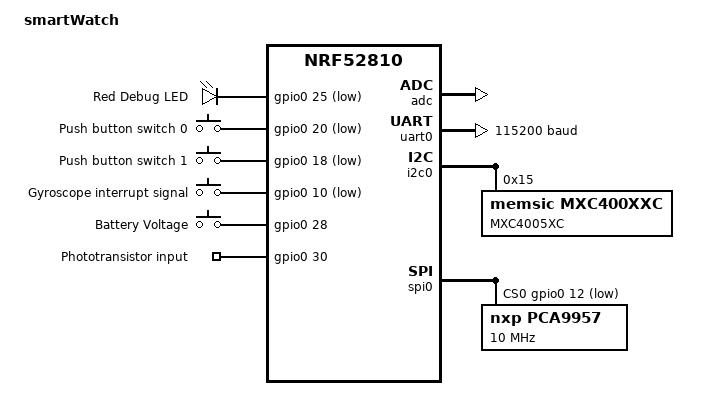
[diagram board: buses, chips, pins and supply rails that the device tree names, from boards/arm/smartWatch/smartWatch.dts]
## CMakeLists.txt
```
# SPDX-License-Identifier: GPLv3

cmake_minimum_required(VERSION 3.20.0)
# add smartWatch board directory
list(APPEND BOARD_ROOT ${CMAKE_CURRENT_SOURCE_DIR})
find_package(Zephyr REQUIRED HINTS $ENV{ZEPHYR_BASE})
project(smartWatchApp)

FILE(GLOB app_sources src/*.c)
target_sources(app PRIVATE ${app_sources})
```

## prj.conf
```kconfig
CONFIG_GPIO=y
CONFIG_ADC=y
CONFIG_ADC_ASYNC=y
CONFIG_NRFX_SAADC=y
CONFIG_ADC_NRFX_SAADC=y
CONFIG_I2C=y
CONFIG_SPI=y
CONFIG_COUNTER=y
CONFIG_COUNTER_RTC0=y
CONFIG_CLOCK_CONTROL_NRF_K32SRC_XTAL=y
CONFIG_CLOCK_CONTROL_NRF_K32SRC_50PPM=y
CONFIG_LOG=n #y
CONFIG_PRINTK=n #y
CONFIG_TIMESLICING=n #y

CONFIG_SERIAL=n

# Power management
CONFIG_PM=n

# Interrupts

# Memory protection
CONFIG_THREAD_STACK_INFO=n
CONFIG_THREAD_CUSTOM_DATA=n
CONFIG_FPU=n

# Boot
CONFIG_BOOT_BANNER=n
CONFIG_BOOT_DELAY=0

# Console
CONFIG_CONSOLE=n
CONFIG_UART_CONSOLE=n
CONFIG_STDOUT_CONSOLE=n
CONFIG_EARLY_CONSOLE=n

# Build
CONFIG_SIZE_OPTIMIZATIONS=y

# Multi-threading
CONFIG_NUM_PREEMPT_PRIORITIES=0
```

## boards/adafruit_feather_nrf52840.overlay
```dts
/* 
 * Copyright (c) 2023 Simon Brenninger
 *
 * SPDX-License-Identifier: GPLv3
 */

my_spi: &spi1 {
    compatible = "nordic,nrf-spi";
    status = "okay";
	pinctrl-0 = <&spi1_default>;
	pinctrl-1 = <&spi1_sleep>;
	cs-gpios = <&gpio0 3 GPIO_ACTIVE_LOW>;

	my_spi_dev: spi-device@0 {
		reg = <0>;
	};
};
```

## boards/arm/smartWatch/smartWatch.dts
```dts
/*
 * Copyright (c) 2023 Simon Brenninger
 *
 * SPDX-License-Identifier: GPLv3
 */

/dts-v1/;
#include <nordic/nrf52810_qfaa.dtsi>
#include "smartWatch-pinctrl.dtsi"

/ {
	model = "smartWatch";
	compatible = "nordic,smartWatch";

	chosen {
		zephyr,console = &uart0;
		zephyr,shell-uart = &uart0;
		zephyr,uart-mcumgr = &uart0;
		zephyr,sram = &sram0;
		zephyr,flash = &flash0;
		zephyr,code-partition = &slot0_partition;
	};
 
	leds {
		compatible = "gpio-leds";
		led0: led0 {
			gpios = <&gpio0 25 GPIO_ACTIVE_LOW>;
			label = "Red Debug LED";
		};
	};

	buttons {
		compatible = "gpio-keys";
		btn0: btn0 {
			label = "Push button switch 0";
			gpios = <&gpio0 20 (GPIO_PULL_UP | GPIO_ACTIVE_LOW)>;
		};
		btn1: btn1 {
			label = "Push button switch 1";
			gpios = <&gpio0 18 (GPIO_ACTIVE_LOW)>;
		};
	};

	custom_pins {
		compatible = "gpio-keys";
		gyroint: gyroint {
			label = "Gyroscope interrupt signal";
			gpios = <&gpio0 10 (GPIO_ACTIVE_LOW)>;
		};
		batsens: batsens {
			label = "Battery Voltage";
			gpios = <&gpio0 28 (GPIO_ACTIVE_HIGH)>;
		};
		photo: photosens {
			label = "Phototransistor input";
			gpios = <&gpio0 30 (GPIO_ACTIVE_HIGH)>;
		};
	};

	aliases {
		sw0 = &btn0;
	};
};

&adc {
	status = "okay";
};

&gpiote {
	status = "okay";
};

&gpio0 {
	status = "okay";
};

&uart0 {
	status = "okay";
	compatible = "nordic,nrf-uart";
	current-speed = <115200>;
	pinctrl-0 = <&uart0_default>;
	pinctrl-1 = <&uart0_sleep>;
	pinctrl-names = "default", "sleep";
};
 
&i2c0 {
	compatible = "nordic,nrf-twi";
	status = "okay";
	pinctrl-0 = <&i2c0_default>;
	pinctrl-1 = <&i2c0_sleep>;
	pinctrl-names = "default", "sleep";

	mxc400: mxc400@15 {
		compatible = "memsic,mxc400xxc";
		label = "MXC4005XC";
		reg = <0x15>;
	};
};

&spi0 {
	compatible = "nordic,nrf-spi";
	status = "okay";
	pinctrl-0 = <&spi0_default>;
	pinctrl-1 = <&spi0_sleep>;
	pinctrl-names = "default", "sleep";
	cs-gpios = <&gpio0 12 GPIO_ACTIVE_LOW>;
	
	pca9957: pca9957@0 {
		compatible = "nxp,pca9957";
		reg = <0>;
		spi-max-frequency = <10000000>;
	};
	
};

&flash0 {
	/*
	 * For more information, see:
	 * http://docs.zephyrproject.org/latest/guides/dts/index.html#flash-partitions
	 */
	partitions {
		compatible = "fixed-partitions";
		#address-cells = <1>;
		#size-cells = <1>;

		boot_partition: partition@0 {
			label = "mcuboot";
			reg = <0x00000000 0xc000>;
		};
		slot0_partition: partition@c000 {
			label = "image-0";
			reg = <0x0000c000 0xe000>;
		};
		slot1_partition: partition@1a000 {
			label = "image-1";
			reg = <0x0001a000 0xe000>;
		};
		scratch_partition: partition@28000 {
			label = "image-scratch";
			reg = <0x00028000 0x4000>;
		};
		storage_partition: partition@2c000 {
			label = "storage";
			reg = <0x0002c000 0x00004000>;
		};
	};
};
```

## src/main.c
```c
/*
 * Copyright (c) 2023 Simon Brenninger
 *
 * SPDX-License-Identifier: GPLv3
 */

#include "lib/lib.h"

LOG_MODULE_REGISTER(SmartWatchDemo, LOG_LEVEL);

K_THREAD_STACK_DEFINE(pca9957_stack, THREAD_STACK_SIZE);
K_THREAD_STACK_DEFINE(mxc400c_stack, THREAD_STACK_SIZE);
K_THREAD_STACK_DEFINE(rtc_stack, THREAD_STACK_SIZE);

k_tid_t pca9957_tid;
k_tid_t mxc400_tid;
k_tid_t adc_tid;
k_tid_t rtc_tid;

struct k_thread pca9957_thread_data;
struct k_thread mxc400_thread_data;
struct k_thread rtc_thread_data;


/**
 * @brief main thread
 */

void main(void)
{
	int ret;
	LOG_DBG("SmartWatch demo project");

	ret = gpio_init();
	ret |= adc_init();

	if(ret) {
		LOG_ERR("Error initializing periphs");
	} else {
		LOG_DBG("peripherals initialized");
		
		pca9957_tid = k_thread_create(&pca9957_thread_data, pca9957_stack,
									  K_THREAD_STACK_SIZEOF(pca9957_stack),
									  pca9957_thread,
									  NULL, NULL, NULL,
									  6, 0, K_NO_WAIT);
		
		mxc400_tid = k_thread_create(&mxc400_thread_data, mxc400c_stack,
									 K_THREAD_STACK_SIZEOF(mxc400c_stack),
									 mxc400_thread,
									 NULL, NULL, NULL,
									 6, 0, K_NO_WAIT);

		rtc_tid = k_thread_create(&rtc_thread_data, rtc_stack,
								  K_THREAD_STACK_SIZEOF(rtc_stack),
								  rtc_thread,
								  NULL, NULL, NULL,
								  5, 0, K_NO_WAIT);
	}
	return;
}

/* 
 * application structure:
 * reset:
 * init peripherals
 * create threads:
 * - pca9957 thread:
 * 		init led driver
 * 		suspend and wait for notifications
 * 		when notified:
 * 			get brightness level
 * 			perform notified task
 * 			suspend
 * - mxc400 thread:
 * 		init interrupt callback
 * 		return
 * 		- callback:
 * 			reset pending interrupt flags
 * 			notify led driver to perform task
 * 			return
 * - rtc thread:
 * 		init rtc
 * 		init time
 * 		add timer callback (every sec)
 * 		return
 * 		callback:
 * 			update time
 * 			return
 *
 */
```

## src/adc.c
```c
/*
 * Copyright (c) 2023 Simon Brenninger
 *
 * SPDX-License-Identifier: GPLv3
 */

#include "header.h"
#include "adc.h"

LOG_MODULE_DECLARE(SmartWatchDemo, LOG_LEVEL);

// adc definitions

const struct device *adc_dev = DEVICE_DT_GET(ADC_NODE);

int16_t adc_buf; // why not uint8_t ?

const struct adc_channel_cfg adc_cfg = {
	.gain = ADC_GAIN,
	.reference = ADC_REFERENCE,
	.acquisition_time = ADC_ACQ_TIME_DEFAULT,
	.channel_id = ADC_CHANNEL,
#ifdef CONFIG_ADC_NRFX_SAADC
	.input_positive = ADC_PORT
#endif
};

struct adc_sequence sequence = {
	.channels = BIT(ADC_CHANNEL),
	.buffer = &adc_buf,
	.buffer_size = sizeof(adc_buf),
	.resolution = ADC_RESOLUTION
};

int adc_init(void) {
	int ret = 0;
	if(!device_is_ready(adc_dev)) {
		return -1;
	}
	
	ret = adc_channel_setup(adc_dev, &adc_cfg);
	return ret;
}

/**
 * @brief get brightness of the photodiode.
 * 
 * @param brightness measured brightness off photodiode
 * 			0x00: dark, 0xFF bright
 * 
 * @retval 0 If successful.
 * @retval -errno Negative errno code on failure.
 */
int photo_get_brightness(uint8_t *brightness) {
	int ret = adc_read(adc_dev, &sequence);
	*brightness = (adc_buf < 1) ? 1 : adc_buf;
	return ret;
}

void adc_test(void)
{
	int ret = 0;

	uint8_t pwm;
	int delay;
	while (!ret)
	{
		ret = photo_get_brightness(&pwm);
		if(ret) {
			LOG_ERR("failed reading ADC!\n");
			gpio_pin_set_dt(&led, 1);
			return;
		}
		delay = pwm*4; // 0...1000
		printk("%d\t%d\n", pwm, delay);

		gpio_pin_set_dt(&led, 1);
		k_usleep(delay);
		gpio_pin_set_dt(&led, 0);
		k_usleep(1000 - delay);
	}
}
```

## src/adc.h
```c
/*
 * Copyright (c) 2023 Simon Brenninger
 *
 * SPDX-License-Identifier: GPLv3
 */

#ifndef ADC_INCLUDED
#define ADC_INCLUDED

#include "header.h"
#include <zephyr/drivers/adc.h>

#define ADC_NODE		DT_NODELABEL(adc)

#define ADC_RESOLUTION	8
#define ADC_CHANNEL		0
#define ADC_PORT		SAADC_CH_PSELP_PSELP_AnalogInput6
#define ADC_REFERENCE	ADC_REF_INTERNAL
#define ADC_GAIN		ADC_GAIN_1_5

extern const struct device *adc_dev;

int adc_init(void);
void adc_test(void);
int photo_get_brightness(uint8_t *brightness);

# endif // ADC_INCLUDED
```

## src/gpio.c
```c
/*
 * Copyright (c) 2023 Simon Brenninger
 *
 * SPDX-License-Identifier: GPLv3
 */

#include "header.h"
#include "gpio.h"

const struct gpio_dt_spec led = GPIO_DT_SPEC_GET(LED0_NODE, gpios);
const struct gpio_dt_spec button0 = GPIO_DT_SPEC_GET(BTN0_NODE, gpios);
const struct gpio_dt_spec button1 = GPIO_DT_SPEC_GET(BTN1_NODE, gpios);

static struct gpio_callback button_cb_data;

void button_pressed(const struct device *dev, struct gpio_callback *cb, uint32_t pins) {
	printk("hi from btn0 callback!\n");
	gpio_pin_toggle_dt(&led);
}

/**
 * @brief initialize the GPIO pins.
 * 
 * @retval 0 If successful.
 * @retval -errno Negative errno code on failure.
 */
uint8_t gpio_init(void)
{
    int ret = 0;
    if (!device_is_ready(led.port) ||
		!device_is_ready(button0.port) ||
		!device_is_ready(button1.port)) {
		return -1;
	}
	ret |= gpio_pin_configure_dt(&led, GPIO_OUTPUT_INACTIVE);
	ret |= gpio_pin_configure_dt(&button0, GPIO_INPUT);
	ret |= gpio_pin_configure_dt(&button1, GPIO_INPUT);

	ret |= gpio_pin_interrupt_configure_dt(&button0, GPIO_INT_EDGE_TO_ACTIVE);
	gpio_init_callback(&button_cb_data, button_pressed, BIT(button0.pin));
	//gpio_add_callback(button0.port, &button_cb_data);

    return ret;
}
```

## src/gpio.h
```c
/*
 * Copyright (c) 2023 Simon Brenninger
 *
 * SPDX-License-Identifier: GPLv3
 */

#ifndef GPIO_INCLUDED
#define GPIO_INCLUDED

#include "header.h"
#include <zephyr/drivers/gpio.h>

#define LED0_NODE		DT_NODELABEL(led0)
#define BTN0_NODE		DT_NODELABEL(btn0)
#define BTN1_NODE		DT_NODELABEL(btn1)
#define GYRO_INT_NODE	DT_NODELABEL(gyroint)

extern const struct gpio_dt_spec led;
extern const struct gpio_dt_spec button0;
extern const struct gpio_dt_spec button1;

uint8_t gpio_init(void);
void thread_photo(void);

#endif // GPIO_INCLUDED
```

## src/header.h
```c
/*
 * Copyright (c) 2023 Simon Brenninger
 *
 * SPDX-License-Identifier: GPLv3
 */

#ifndef HEADER_INCLUDED
#define HEADER_INCLUDED


#include <inttypes.h>
#include <stddef.h>
#include <stdint.h>

#include <zephyr/kernel.h>
#include <zephyr/device.h>
#include <zephyr/sys_clock.h>
#include <zephyr/devicetree.h>
#include <zephyr/sys/printk.h>
#include <zephyr/logging/log.h>
#include <zephyr/sys/util.h>

#include "adc.h"
#include "rtc.h"
#include "gpio.h"
#include "mxc400.h"
#include "pca9957.h"
#include "pca9957_wrapper.h"

#define LOG_LEVEL	            LOG_LEVEL_DBG

#define ERR_DEVICE_NOT_READY    BIT(1)

#define THREAD_STACK_SIZE       1024

extern k_tid_t pca9957_tid;
extern k_tid_t mxc400_tid;
extern k_tid_t adc_tid;
extern k_tid_t rtc_tid;

#endif // HEADER_INCLUDED
```

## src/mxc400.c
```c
/*
 * Copyright (c) 2023 Simon Brenninger
 *
 * SPDX-License-Identifier: GPLv3
 */

#include "header.h"
#include "mxc400.h"

LOG_MODULE_DECLARE(SmartWatchDemo, LOG_LEVEL);

const struct device *i2c_dev = DEVICE_DT_GET(I2C_NODE);
const struct gpio_dt_spec mxc400_int = GPIO_DT_SPEC_GET(GYRO_INT_NODE, gpios);

static struct gpio_callback callback_data;
struct k_fifo pca_task_fifo;
static struct pca_task_el el;

void mxc400_callback(const struct device *dev, struct gpio_callback *cb, uint32_t pins) {
	//gpio_pin_toggle_dt(&led);
	k_fifo_put(&pca_task_fifo, &el);
}

/**
 * @brief mxc400 accelerometer thread
 */
void mxc400_thread(void *, void *, void *)
{
	int ret;
	LOG_DBG("MXC400 thread started");
	ret = mxc400_init();

	if(ret)
	{
		LOG_ERR("Error initializing MXC400");
		return;
	}
	LOG_DBG("MXC400 initialized");

	while(1)
	{
		k_sleep(K_FOREVER);
		mxc400_interrupt_clear(MXC400_INTFLAG_CHORXY);
	}
}

/*
reading device ID:

buf = 0x0E;
	ret = i2c_write(i2c_dev, &buf, 1, I2C_ADDRESS);
	if(ret != 0)
	{
		LOG_ERR("Error writing to I2C device\n");
		gpio_pin_set_dt(&led, 1);
		return;
	}

	ret = i2c_read(i2c_dev, &buf, 1, I2C_ADDRESS);
	if(ret != 0)
	{
		LOG_ERR("Error reading from I2C device\n");
		gpio_pin_set_dt(&led, 1);
		return;
	}

	if(buf != 0x02)
	{
		gpio_pin_set_dt(&led, 1);
		return;
	}

*/

/**
 * @brief initialize mxc400 accelerometer.
 * 
 * @retval 0 If successful.
 * @retval -errno Negative errno code on failure.
 */
int mxc400_init(void)
{
	int ret;

	if (!device_is_ready(mxc400_int.port) ||
		!device_is_ready(i2c_dev)) {
		return -1;
	}

	k_fifo_init(&pca_task_fifo);
	el.task = PCA9957_TASK_CLOCK;
	
	ret = gpio_pin_configure_dt(&mxc400_int, GPIO_INPUT);
	if (ret) { return ret; }
	ret = gpio_pin_interrupt_configure_dt(&mxc400_int, GPIO_INT_EDGE_FALLING);
	if (ret) { return ret; }
	gpio_init_callback(&callback_data, mxc400_callback, BIT(mxc400_int.pin));
	ret = gpio_add_callback(mxc400_int.port, &callback_data);
	if (ret) { return ret; }

	ret = mxc400_sw_reset();
	if (ret) { return ret; }

	ret = mxc400_interrupt_enable(MXC400_INTFLAG_CHORXY);
	return ret;
}

int mxc400_interrupt_enable(uint16_t intr_flags) {
	int ret;
	uint8_t buf[2];
	buf[0] = MXC400_INT_MASK0;
	buf[1] = (uint8_t) intr_flags;
	ret = i2c_write(i2c_dev, buf, 2, MXC400_ADDRESS);

	buf[1] = (uint8_t) (intr_flags >> 8);
	if(!ret && buf[1]) {
		buf[0] = MXC400_INT_MASK1;
		ret = i2c_write(i2c_dev, buf, 2, MXC400_ADDRESS);
	}
	return ret;
}

int mxc400_interrupt_clear(uint16_t intr_flags) {
	int ret;
	uint8_t buf[2];
	buf[0] = MXC400_INT_SRC0;
	buf[1] = (uint8_t) intr_flags;
	ret = i2c_write(i2c_dev, buf, 2, MXC400_ADDRESS);

	buf[1] = (uint8_t) (intr_flags >> 8);
	if(!ret && buf[1]) {
		buf[0] = MXC400_INT_SRC1;
		ret = i2c_write(i2c_dev, buf, 2, MXC400_ADDRESS);
	}
	return ret;
}

int mxc400_interrupt_pending(uint16_t *intr_flags) {
	int ret;
	uint8_t buf[4];
	struct i2c_msg msgs[4];
	buf[0] = MXC400_INT_SRC0;
	buf[2] = MXC400_INT_SRC1;

	msgs[0].buf = &buf[0];
	msgs[0].len = 1;
	msgs[0].flags = I2C_MSG_WRITE;

	msgs[0].buf = &buf[1];
	msgs[0].len = 1;
	msgs[0].flags = I2C_MSG_READ;

	msgs[1].buf = &buf[2];
	msgs[1].len = 1;
	msgs[1].flags = I2C_MSG_WRITE;

	msgs[1].buf = &buf[3];
	msgs[1].len = 1;
	msgs[1].flags = I2C_MSG_READ;

	ret = i2c_transfer(i2c_dev, msgs, 4, MXC400_ADDRESS);
	*intr_flags = (buf[3] << 8) & buf[1];
	return ret;
}

int mxc400_sw_reset(void) {
	int ret;
	uint8_t buf[2];
	buf[0] = MXC400_INT_CLR1;
	buf[1] = MXC400_INT_CLR1_SW_RST;

	ret = i2c_write(i2c_dev, buf, 2, MXC400_ADDRESS);
	return ret;
}
```

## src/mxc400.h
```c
/*
 * Copyright (c) 2023 Simon Brenninger
 *
 * SPDX-License-Identifier: GPLv3
 */

#ifndef MX400_INCLUDED
#define MX400_INCLUDED

#include "header.h"
#include <zephyr/drivers/i2c.h>
#include <zephyr/drivers/gpio.h>
#include <zephyr/sys/util.h>

#define I2C_NODE            DT_NODELABEL(i2c0)
#define MXC400_ADDRESS      0x15

// register definition

#define MXC400_INT_SRC0         0x00
#define MXC400_INT_CLR0         0x00
#define MXC400_INT_SRC1         0x01
#define MXC400_INT_CLR1         0x01
#define MXC400_STATUS           0x02
#define MXC400_XOUT_UPPER       0x03
#define MXC400_XOUT_LOWER       0x04
#define MXC400_YOUT_UPPER       0x05
#define MXC400_YOUT_LOWER       0x06
#define MXC400_ZOUT_UPPER       0x07
#define MXC400_ZOUT_LOWER       0x08
#define MXC400_TOUT             0x09
#define MXC400_INT_MASK0        0x0A
#define MXC400_INT_MASK1        0x0B
#define MXC400_DETECTION        0x0C
#define MXC400_CONTROL          0x0D
#define MXC400_DEVICE_ID        0x0E
#define MXC400_WHO_AM_I         0x0F

// bit definition

// register INT SRC0 bit definitions
#define MXC400_INT_SRC0_SHXP    BIT(0)
#define MXC400_INT_SRC0_SHXM    BIT(1)
#define MXC400_INT_SRC0_SHYP    BIT(2)
#define MXC400_INT_SRC0_SHYM    BIT(3)
#define MXC400_INT_SRC0_CHORXY  BIT(6)
#define MXC400_INT_SRC0_CHORZ   BIT(7)

// register INT SRC1 bit definitions
#define MXC400_INT_SRC1_DRDY    BIT(0)
#define MXC400_INT_SRC1_ORXY0   BIT(4)
#define MXC400_INT_SRC1_ORXY1   BIT(5)
#define MXC400_INT_SRC1_ORZ     BIT(6)
#define MXC400_INT_SRC1_TILT    BIT(7)

#define MXC400_INT_CLR1_DRDYC   BIT(0)
#define MXC400_INT_CLR1_SW_RST  BIT(4)

// register STATUS bit definitions
#define MXC400_STATUS_ORIXY0    BIT(0)
#define MXC400_STATUS_ORIXY1    BIT(1)
#define MXC400_STATUS_ORIZ0     BIT(2)
#define MXC400_STATUS_ORIZ1     BIT(3)
#define MXC400_STATUS_ORD       BIT(4)

// register XOUT_UPPER bit definitions
#define MXC400_XOUT_UPPER_11_4

// register XOUT_LOWER bit definitions
#define MXC400_XOUT_LOWER_11_4

// register YOUT_UPPER bit definitions
#define MXC400_YOUT_UPPER_11_4

// register YOUT_LOWER bit definitions
#define MXC400_YOUT_LOWER_11_4

// register ZOUT_UPPER bit definitions
#define MXC400_ZOUT_UPPER_11_4

// register ZOUT_LOWER bit definitions
#define MXC400_ZOUT_LOWER_11_4

// register TOUT bit definitions
// register INT_MASK0 bit definitions
// register INT_MASK1 bit definitions
// register DETECTION bit definitions
// register CONTROL bit definitions

// interrupt flags

#define MXC400_INTFLAG_SHXP     (1 << 0)
#define MXC400_INTFLAG_SHXM     (1 << 1)
#define MXC400_INTFLAG_SHYP     (1 << 2)
#define MXC400_INTFLAG_SHYM     (1 << 3)
#define MXC400_INTFLAG_CHORXY   (1 << 6)
#define MXC400_INTFLAG_CHORZ    (1 << 7)
#define MXC400_INTFLAG_DRDY     (1 << 8)

extern const struct gpio_dt_spec mxc400_int;
extern const struct device *i2c_dev;

int mxc400_init(void);
void mxc400_thread(void *, void *, void *);
void mxc400_callback(const struct device *dev, struct gpio_callback *cb, uint32_t pins);
int mxc400_interrupt_enable(uint16_t intr_flags);
int mxc400_interrupt_clear(uint16_t intr_flags);
int mxc400_interrupt_pending(uint16_t *intr_flags);
int mxc400_sw_reset(void);

#endif // MX400_INCLUDED
```

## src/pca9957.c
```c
/*
 * Copyright (c) 2023 Simon Brenninger
 *
 * SPDX-License-Identifier: GPLv3
 */

#include "header.h"

LOG_MODULE_DECLARE(SmartWatchDemo, LOG_LEVEL);

const struct device *pca9957_dev = DEVICE_DT_GET(SPI_NODE);
volatile uint8_t pca9957_rdy = 0;

static k_tid_t pca9957_delay_tid;
static struct k_thread pca9957_delay_thread_data;

K_THREAD_STACK_DEFINE(pca9957_delay_stack, THREAD_STACK_SIZE);

/**
 * @brief pca9957 led driver thread
 */
void pca9957_delay_thread(void *, void *, void *) {
	volatile uint8_t i = 0;
	while(1) {
		i++;
		k_msleep(1000);
	}
}

static void pca9957_init_delay_thread(void) {
	pca9957_delay_tid = k_thread_create(&pca9957_delay_thread_data,
								pca9957_delay_stack,
								K_THREAD_STACK_SIZEOF(pca9957_delay_stack),
								pca9957_delay_thread, NULL, NULL, NULL,
								  8, 0, K_NO_WAIT);
}


/**
 * @brief pca9957 led driver thread
 */
void pca9957_thread(void *, void *, void *)
{
	int ret;
	uint8_t brightness;
	struct tm time;
	struct pca_task_el *el;

	LOG_DBG("PCA9957 thread started");

	ret = pca9957_init();
	if(ret) {
		LOG_ERR("Error initializing PCA9957");
		return;
	}

	pca9957_init_delay_thread(); // void value not ignored as it ought to be

	pca9957_rdy = 1;
	LOG_DBG("PCA8857 initialized");

	//pca9957_loading_demo(0x05, 1, 30);

	while(1) {
		// wait for notification
		el = k_fifo_get(&pca_task_fifo, K_FOREVER);
		photo_get_brightness(&brightness);
		switch (el->task) {
			case PCA9957_TASK_CLOCK:
			{
				rtc_get_time(&time);
				pca9957_clock_demo(brightness, &time);
				pca9957_update_brightness(PCA9957_CLOCK_DELAY_MS,
										  PCA9957_CLOCK_UPDATE_MS);
				pca9957_set_led_mode(PCA9957_LEDS_MSK, PCA9957_LEDMODE_OFF);
				break;
			}
			case PCA9957_TASK_LOADING:
			{
				pca9957_loading_demo(brightness, 1, 30);
				break;
			}
			case PCA9957_TASK_OFF:
			{
				pca9957_set_led_mode(PCA9957_LEDS_MSK, PCA9957_LEDMODE_OFF);
				break;
			}
			default:
				break;
		}
		// tell mxc400_thread pca9957 is ready
		k_thread_resume(mxc400_tid);
	}
}

/**
 * @brief initialize PCA9957 spi led driver.
 * sets all led channels inactive
 * 
 * @retval 0 If successful.
 * @retval -errno Negative errno code on failure.
 */
int pca9957_init() {
	int ret;
	if(!device_is_ready(pca9957_dev)) {
		return ERR_DEVICE_NOT_READY;
	}
	// set current, pwm, led-mode
	ret = pca9957_set_led_mode(PCA9957_LEDS_MSK, PCA9957_LEDMODE_OFF);
	if (ret) { return ret; }
	ret = pca9957_set_led_current(PCA9957_LEDS_MSK, 0x01);
	if (ret) { return ret; }
	ret = pca9957_set_led_pwm(PCA9957_LEDS_MSK, 0x05);
	return ret;
}

void pca9957_update_brightness(uint32_t duration_ms, uint8_t intervall_ms) {
	uint32_t i = 0;
	uint8_t brightness;

	while(i < (duration_ms / intervall_ms)) {
		photo_get_brightness(&brightness);
		pca9957_set_led_pwm(PCA9957_LEDS_MSK, brightness);
		k_msleep(intervall_ms);
		i++;
	}
}

void pca9957_clock_demo(uint8_t brightness, struct tm *time)
{
	int ret = 0;
	ret |= pca9957_set_led_mode(PCA9957_LEDS_MSK, PCA9957_LEDMODE_OFF);
	ret |= pca9957_set_led_pwm(PCA9957_LEDS_MSK, brightness);

	ret |= pca9957_set_led_mode(HOUR(time->tm_hour) | MINUTE(time->tm_min), PCA9957_LEDMODE_PWM);
	
}

/**
 * @brief loading demo executed the specified number of cycles
 * 
 * @param brightness brightness of active led (0x00 off, 0xFF fully on)
 * @param num_cycles number of cycles to execute
 * @param delay number of milliseconds to wait after each iteration
 * 			with delay * PCA9957_NUM_LEDS being a rough estimate of
 * 			 the elapsed after a full cycle
 * 
 * @retval 0 If successful.
 * @retval -errno Negative errno code on failure.
 * 
 * @note the calling thread will be blocked during execution
 */
int pca9957_loading_demo(uint8_t brightness, uint8_t num_cycles, uint16_t delay_ms)
{
	int ret, h, m;
	m = 12;
	h = 0;

	ret = pca9957_set_led_current(PCA9957_LEDS_MSK, 0x01);
	
	while(num_cycles > 0) {
		ret |= pca9957_set_led_mode(PCA9957_LEDS_MSK, PCA9957_LEDMODE_OFF);
		ret |= pca9957_set_led_pwm(PCA9957_LEDS_MSK, 0x05);

		ret |= pca9957_set_led_pwm(LED_INNER(h) | LED_OUTER(m), 0x50);
		ret |= pca9957_set_led_pwm(LED_INNER(h-1) | LED_INNER(h+1) | LED_OUTER(m-1) | LED_OUTER(m+1), 0x02);
		ret |= pca9957_set_led_mode(LED_INNER(h) | LED_OUTER(m), PCA9957_LEDMODE_PWM);
		ret |= pca9957_set_led_mode(LED_INNER(h-1) | LED_INNER(h+1) | LED_OUTER(m-1) | LED_OUTER(m+1), PCA9957_LEDMODE_PWM);
		h++;
		m--;
		if(h == 12) {
			m = 12;
			h = 0;
			num_cycles--;
		}
		if(ret) {
			LOG_ERR("Error occured writing to PCA9957");
			return ret;
		}
		k_msleep(delay_ms);
	}

	ret |= pca9957_set_led_pwm(PCA9957_LEDS_MSK, 0x00);
	ret |= pca9957_set_led_mode(PCA9957_LEDS_MSK, PCA9957_LEDMODE_OFF);
	return ret;
}
```

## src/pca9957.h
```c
/*
 * Copyright (c) 2023 Simon Brenninger
 *
 * SPDX-License-Identifier: GPLv3
 */

#ifndef PCA9957_INCLUDED
#define PCA9957_INCLUDED

#include "header.h"
#include <zephyr/drivers/spi.h>

#define SPI_NODE        DT_NODELABEL(spi0)

extern const struct device *pca9957_dev;

// hardware defined offset
// (0 o'clock leds not routed to LED(0) & LED(1))
#define LED_INNER(n)        PCA9957_LED(2*(n + 10))
#define LED_OUTER(n)        PCA9957_LED((2*(n + 10) + 1))

#define HOUR(n)             LED_INNER(n % 12)
#define MINUTE(n)           LED_OUTER((n/5) % 12)

#define PCA9957_TASK_OFF        BIT(0)
#define PCA9957_TASK_CLOCK      BIT(1)
#define PCA9957_TASK_LOADING    BIT(2)

#define PCA9957_CLOCK_DELAY_MS  4000
#define PCA9957_CLOCK_UPDATE_MS 20

struct pca_task_el {
    void *res;
	uint8_t task;
};

extern volatile uint8_t pca_rdy;

int pca9957_init(void);
void pca9957_thread(void *, void *, void *);
int pca9957_loading_demo(uint8_t brightness, uint8_t num_cycles, uint16_t delay_ms);
void pca9957_clock_demo(uint8_t brightness, struct tm *time);
void pca9957_update_brightness(uint32_t duration_ms, uint8_t intervall_ms);

#endif // PCA9957_INCLUDED
```

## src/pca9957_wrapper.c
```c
/*
 * Copyright (c) 2023 Simon Brenninger
 *
 * SPDX-License-Identifier: GPLv3
 */

#include "pca9957.h"

LOG_MODULE_DECLARE(SmartWatchDemo, LOG_LEVEL);

// SPI struct definitions

static uint8_t my_spi_buf[2];

static struct spi_config config = {
	.frequency = 1000000,
	.operation = SPI_OP_MODE_MASTER | SPI_TRANSFER_MSB | SPI_WORD_SET(8),
	.cs = SPI_CS_CONTROL_PTR_DT(DT_NODELABEL(pca9957), 0),
};

static struct spi_buf spi_buffer = {
	.buf = my_spi_buf,
	.len = 2 * sizeof(my_spi_buf[0])
};
static struct spi_buf_set spi_buffers = {
	.buffers = &spi_buffer,
	.count = 1
};

static uint8_t led_mode[PCA9957_NUM_LEDOUT_REGS] = {0};
static uint8_t led_pwm[PCA9957_NUM_LEDS] = {0};

/**
 * @brief set pca9957 low-power mode
 * 
 * @note make sure group dimming/blinking is disabled before entering
 * low-power mode, otherwise the state of the led channels after exiting
 * low-power mode again will result in an undefined behaviour.
 * 
 * @param low_power either PCA9957_LOW_POWER_EN or PCA9957_LOW_POWER_DIS
 * 
 * @retval 0 If successful.
 * @retval -errno Negative errno code on failure.
 */
int pca9957_set_power_mode(uint8_t low_power) {
	return pca9957_write(PCA9957_MODE1, low_power << PCA9957_MODE1_SLEEP);
}

/**
 * @brief get pca9957s current low-power mode
 * 
 * @param low_power either PCA9957_LOW_POWER_EN or PCA9957_LOW_POWER_DIS
 * 
 * @retval 0 If successful.
 * @retval -errno Negative errno code on failure.
 */
int pca9957_get_power_mode(uint8_t *low_power) {
	int ret = pca9957_read(PCA9957_MODE1, low_power);
	*low_power = *low_power >> PCA9957_MODE1_SLEEP;
	return ret;
}

/**
 * @brief get the content of pca9957 mode2 register
 * 
 * @param status buffer where mode2 register content will be written to
 * 
 * @retval 0 If successful.
 * @retval -errno Negative errno code on failure.
 */
int pca9957_get_status(uint8_t *status) {
	return pca9957_read(PCA9957_MODE2, status);
}

/**
 * @brief pca9957 error checker
 * 
 * @param status buffer to write error register content to
 * 
 * @retval 0 If successful.
 * @retval -errno Negative errno code on failure.
 */
int pca9957_check_error(uint8_t *error) {
	int ret;
	ret = pca9957_get_status(error);
	*error = *error & (PCA9957_MODE2_OVERTEMP & PCA9957_MODE2_ERROR);
	return ret;
}

/**
 * @brief sets output mode for the chosen led channels
 *
 * @param leds selected LEDs; use PCA9957_LED(n) to choose a selection
 * or PCA9957_LEDS_MSK to select all channels
 * @param mode one of the following: 
 * PCA9957_LEDMODE_OFF: turn led(s) off
 * PCA9957_LEDMODE_ON: turn led(s) fully on
 * PCA9957_LEDMODE_PWM: enable PWM mode
 * PCA9957_LEDMODE_GROUP: enable group dimming/blinking
 * 
 * @retval 0 If successful.
 * @retval -errno Negative errno code on failure.
 * 
 * @note when selecting either PCA9957_LEDMODE_PWM or PCA9957_LEDMODE_GROUP make
 * sure pca9957_set_led_pwm or pca9957_set_group_mode is configured in advance
 */
int pca9957_set_led_mode(uint32_t leds, uint8_t mode) {
	int i, ret = 0;
	volatile uint8_t mask, new_mode = 0x00;
	i = 0;
	while(i < PCA9957_NUM_LEDS && !ret) {
		if(leds & PCA9957_LED(i)) {
			// change led i mode
			new_mode |= mode << PCA9957_LEDMODE_POS(i);
		} else {
			// keep previous mode for led i
			mask = PCA9957_LEDMODE_MSK << PCA9957_LEDMODE_POS(i);
			new_mode |= (led_mode[PCA9957_LEDOUT_REG(i)] & mask);
		}
		if(PCA9957_LEDMODE_POS((i+1)) == 0 && i > 0) {
			// write new_mode to pca9957
			ret = pca9957_write(PCA9957_LEDOUT(PCA9957_LEDOUT_REG(i)), new_mode);
			led_mode[PCA9957_LEDOUT_REG(i)] = new_mode;
			new_mode = 0x00;
		}
		i++;
	}
	return ret;
}

/**
 * @brief sets the pwm duty cycle for the chosen led channels
 *
 * @param leds selected LEDs; use PCA9957_LED(n) to choose a selection
 * or PCA9957_LEDS_MSK to select all channels
 * @param pwm 8-bit pwm duty cycle (0x00 - 0xFF)
 * 
 * @retval 0 If successful.
 * @retval -errno Negative errno code on failure.
 */
int pca9957_set_led_pwm(uint32_t leds, uint8_t pwm) {
	int i, ret = 0;
	if(leds == PCA9957_LEDS_MSK) {
	return pca9957_write(PCA9957_PWMALL, pwm);
	}
	i = 0;
	while(i < PCA9957_NUM_LEDS && !ret) {
		if(leds & PCA9957_LED(i)) {
			if(led_pwm[i] != pwm) {
				ret |= pca9957_write(PCA9957_PWM(i), pwm);
				led_pwm[i] = pwm;
			}
		}
		i++;
	}
	return ret;
}

/**
 * @brief sets the max output current for each led channels
 *
 * @param leds selected LEDs; use PCA9957_LED(n) to choose a selection
 * or PCA9957_LEDS_MSK to select all channels
 * @param current 8-bit current setting (0x00 - 0xFF)
 * 
 * @retval 0 If successful.
 * @retval -errno Negative errno code on failure.
 */
int pca9957_set_led_current(uint32_t leds, uint8_t current) {
	int i, ret = 0;
	if(leds == PCA9957_LEDS_MSK) {
	return pca9957_write(PCA9957_IREFALL, current);
	}
	i = 0;
	while(i < PCA9957_NUM_LEDS && !ret) {
		if(leds & PCA9957_LED(i)) {
			ret |= pca9957_write(PCA9957_IREF(i), current);
		}
		i++;
	}
	return ret;
}

/**
 * @brief writes one byte to the specified register
 * 
 * @param reg 7-bit register address to be written to
 * @param tx_buf buffer where data to be written is stored
 *
 * @retval 0 If successful.
 * @retval -errno Negative errno code on failure.
 */
int pca9957_write(uint8_t reg, uint8_t tx_buf) {
	// ********** SPI WRITING **********
	// send first 7 bit with register address MSB
	// LSB reset to write from device
	my_spi_buf[0] = (reg << 1) & 0xFE;
	my_spi_buf[1] = tx_buf;

	return spi_write(pca9957_dev, &config, &spi_buffers);
}

/**
 * @brief Read one byte from the specified register
 *
 * @param addr 7-bit register address to be read from
 * @param rx_buf buffer where data to be read will be written to
 *
 * @retval 0 If successful.
 * @retval -errno Negative errno code on failure.
 */
int pca9957_read(uint8_t reg, uint8_t *rx_buf) {
	// ********** SPI READING **********
	// send first 7 bit with register address MSB
	// LSB set to read from device
	//reg_addr = 0x08;
	int ret;
	my_spi_buf[0] = (reg << 1) | 0x01;
	my_spi_buf[1] = 0xFF;

	ret = spi_write(pca9957_dev, &config, &spi_buffers);

	ret |= spi_read(pca9957_dev, &config, &spi_buffers);
	*rx_buf = my_spi_buf[1];
    return ret;
}
```

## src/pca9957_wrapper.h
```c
/*
 * Copyright (c) 2023 Simon Brenninger
 *
 * SPDX-License-Identifier: GPLv3
 */

#include "pca9957.h"

#ifndef PCA9957_WRAPPER_INCLUDED
#define PCA9957_WRAPPER_INCLUDED

// register definition

#define PCA9957_MODE_BASE           0x00
#define PCA9957_EFLAG_BASE          0x02
#define PCA9957_LEDOUT_BASE         0x08
#define PCA9957_PWM_BASE            0x10
#define PCA9957_IREF_BASE           0x28


// MODE1 register
#define PCA9957_MODE1               PCA9957_MODE_BASE
// MODE1 bit definitios
#define PCA9957_MODE1_SLEEP         BIT(4)
#define PCA9957_LOW_POWER_EN        0x01
#define PCA9957_LOW_POWER_DIS       0x00


// MODE2 register
#define PCA9957_MODE2               PCA9957_MODE_BASE + 0x01
// MODE2 bit definitions
#define PCA9957_MODE2_OVERTEMP              BIT(7)
#define PCA9957_MODE2_ERROR                 BIT(6)
#define PCA9957_MODE2_DMBLK                 BIT(5)
#define PCA9957 MODE2_CLRERR                BIT(4)
#define PCA9957_MODE2_AUTO_SWITCHOFF_DIS    BIT(3)
#define PCA9957_MODE2_EXP_EN                BIT(2)


#define PCA9957_EFLAG0              PCA9957_EFLAG_BASE
#define PCA9957_EFLAG1              PCA9957_EFLAG_BASE + 0x01
#define PCA9957_EFLAG2              PCA9957_EFLAG_BASE + 0x02
#define PCA9957_EFLAG3              PCA9957_EFLAG_BASE + 0x03
#define PCA9957_EFLAG4              PCA9957_EFLAG_BASE + 0x04
#define PCA9957_EFLAG5              PCA9957_EFLAG_BASE + 0x05
#define PCA9957_EFLAG(n)            PCA9957_EFLAG_BASE + (n % 0x06)


// LEDOUT registers
#define PCA9957_LEDOUT0             PCA9957_LEDOUT_BASE
#define PCA9957_LEDOUT1             PCA9957_LEDOUT_BASE + 0x01
#define PCA9957_LEDOUT2             PCA9957_LEDOUT_BASE + 0x02
#define PCA9957_LEDOUT3             PCA9957_LEDOUT_BASE + 0x03
#define PCA9957_LEDOUT4             PCA9957_LEDOUT_BASE + 0x04
#define PCA9957_LEDOUT5             PCA9957_LEDOUT_BASE + 0x05
#define PCA9957_LEDOUT(n)           PCA9957_LEDOUT_BASE + (n % 0x06)
// LEDOUT bit definitions
#define PCA9957_LEDMODE_OFF         0x00
#define PCA9957_LEDMODE_ON          0x01
#define PCA9957_LEDMODE_PWM         0x02
#define PCA9957_LEDMODE_GROUP       0x03
// wrapper definitions
#define PCA9957_NUM_LEDOUT_REGS     6
#define PCA9957_LEDOUT_REGSIZE      8
#define PCA9957_LEDOUT_REG(n)       (int)(PCA9957_LEDMODE_SIZE * n / PCA9957_LEDOUT_REGSIZE)
#define PCA9957_LEDMODE_SIZE        2
#define PCA9957_LEDMODE_POS(n)      (PCA9957_LEDMODE_SIZE * n) % PCA9957_LEDOUT_REGSIZE
#define PCA9957_LEDMODE_MSK         0x03

#define PCA9957_NUM_LEDS            24
#define PCA9957_LED(n)              BIT((n % PCA9957_NUM_LEDS))
#define PCA9957_LEDS_MSK            0xFFFFFF


#define PCA9957_PWM0                PCA9957_PWM_BASE
#define PCA9957_PWM1                PCA9957_PWM_BASE + 0x01
#define PCA9957_PWM2                PCA9957_PWM_BASE + 0x02
#define PCA9957_PWM3                PCA9957_PWM_BASE + 0x03
#define PCA9957_PWM4                PCA9957_PWM_BASE + 0x04
#define PCA9957_PWM5                PCA9957_PWM_BASE + 0x05
#define PCA9957_PWM6                PCA9957_PWM_BASE + 0x06
#define PCA9957_PWM7                PCA9957_PWM_BASE + 0x07
#define PCA9957_PWM8                PCA9957_PWM_BASE + 0x08
#define PCA9957_PWM9                PCA9957_PWM_BASE + 0x09
#define PCA9957_PWM10               PCA9957_PWM_BASE + 0x0A
#define PCA9957_PWM11               PCA9957_PWM_BASE + 0x0B
#define PCA9957_PWM12               PCA9957_PWM_BASE + 0x0C
#define PCA9957_PWM13               PCA9957_PWM_BASE + 0x0D
#define PCA9957_PWM14               PCA9957_PWM_BASE + 0x0E
#define PCA9957_PWM15               PCA9957_PWM_BASE + 0x0F
#define PCA9957_PWM16               PCA9957_PWM_BASE + 0x10
#define PCA9957_PWM17               PCA9957_PWM_BASE + 0x11
#define PCA9957_PWM18               PCA9957_PWM_BASE + 0x12
#define PCA9957_PWM19               PCA9957_PWM_BASE + 0x13
#define PCA9957_PWM20               PCA9957_PWM_BASE + 0x14
#define PCA9957_PWM21               PCA9957_PWM_BASE + 0x15
#define PCA9957_PWM22               PCA9957_PWM_BASE + 0x16
#define PCA9957_PWM23               PCA9957_PWM_BASE + 0x17
#define PCA9957_PWM(n)              PCA9957_PWM_BASE + (n % 0x18)


#define PCA9957_IREF0               PCA9957_IREF_BASE
#define PCA9957_IREF1               PCA9957_IREF_BASE + 0x01
#define PCA9957_IREF2               PCA9957_IREF_BASE + 0x02
#define PCA9957_IREF3               PCA9957_IREF_BASE + 0x03
#define PCA9957_IREF4               PCA9957_IREF_BASE + 0x04
#define PCA9957_IREF5               PCA9957_IREF_BASE + 0x05
#define PCA9957_IREF6               PCA9957_IREF_BASE + 0x06
#define PCA9957_IREF7               PCA9957_IREF_BASE + 0x07
#define PCA9957_IREF8               PCA9957_IREF_BASE + 0x08
#define PCA9957_IREF9               PCA9957_IREF_BASE + 0x09
#define PCA9957_IREF10              PCA9957_IREF_BASE + 0x0A
#define PCA9957_IREF11              PCA9957_IREF_BASE + 0x0B
#define PCA9957_IREF12              PCA9957_IREF_BASE + 0x0C
#define PCA9957_IREF13              PCA9957_IREF_BASE + 0x0D
#define PCA9957_IREF14              PCA9957_IREF_BASE + 0x0E
#define PCA9957_IREF15              PCA9957_IREF_BASE + 0x0F
#define PCA9957_IREF16              PCA9957_IREF_BASE + 0x10
#define PCA9957_IREF17              PCA9957_IREF_BASE + 0x11
#define PCA9957_IREF18              PCA9957_IREF_BASE + 0x12
#define PCA9957_IREF19              PCA9957_IREF_BASE + 0x13
#define PCA9957_IREF20              PCA9957_IREF_BASE + 0x14
#define PCA9957_IREF21              PCA9957_IREF_BASE + 0x15
#define PCA9957_IREF22              PCA9957_IREF_BASE + 0x16
#define PCA9957_IREF23              PCA9957_IREF_BASE + 0x17
#define PCA9957_IREF(n)             PCA9957_IREF_BASE + (n % 0x18)


#define PCA9957_RAMP_RATE_GRP0      0x40
#define PCA9957_STEP_TIME_GRP0      0x41
#define PCA9957_HOLD_CNTL_GRP0      0x42
#define PCA9957_IREF_GRP0           0x43

#define PCA9957_RAMP_RATE_GRP1      0x44
#define PCA9957_STEP_TIME_GRP1      0x45
#define PCA9957_HOLD_CNTL_GRP1      0x46
#define PCA9957_IREF_GRP1           0x47

#define PCA9957_RAMP_RATE_GRP2      0x48
#define PCA9957_STEP_TIME_GRP2      0x49
#define PCA9957_HOLD_CNTL_GRP2      0x4A
#define PCA9957_IREF_GRP2           0x4B

#define PCA9957_RAMP_RATE_GRP3      0x4C
#define PCA9957_STEP_TIME_GRP3      0x4D
#define PCA9957_HOLD_CNTL_GRP3      0x4E
#define PCA9957_IREF_GRP3           0x4F

#define PCA9957_RAMP_RATE_GRP4      0x50
#define PCA9957_STEP_TIME_GRP4      0x51
#define PCA9957_HOLD_CNTL_GRP4      0x52
#define PCA9957_IREF_GRP4           0x53

#define PCA9957_RAMP_RATE_GRP5      0x54
#define PCA9957_STEP_TIME_GRP5      0x55
#define PCA9957_HOLD_CNTL_GRP5      0x56
#define PCA9957_IREF_GRP5           0x57


#define PCA9957_GRAD_MODE_SEL0      0x58
#define PCA9957_GRAD_MODE_SEL1      0x59
#define PCA9957_GRAD_MODE_SEL2      0x5A

#define PCA9957_GRAD_GRP_SEL0       0x5B
#define PCA9957_GRAD_GRP_SEL1       0x5B
#define PCA9957_GRAD_GRP_SEL2       0x5B
#define PCA9957_GRAD_GRP_SEL3       0x5B
#define PCA9957_GRAD_GRP_SEL4       0x5B
#define PCA9957_GRAD_GRP_SEL5       0x60
#define PCA9957_GRAD_GRP_SEL6       0x61
#define PCA9957_GRAD_GRP_SEL7       0x62
#define PCA9957_GRAD_GRP_SEL8       0x63
#define PCA9957_GRAD_GRP_SEL9       0x64
#define PCA9957_GRAD_GRP_SEL10      0x65
#define PCA9957_GRAD_GRP_SEL11      0x66

#define PCA9957_GRAD_CNTL0          0x67
#define PCA9957_GRAD_CNTL1          0x68


#define PCA9957_OFFSET              0x69
#define PCA9957_PWMALL              0x6A
#define PCA9957_IREFALL             0x6B


// ERROR definitions
#define ERR_PCA9957COMMON           BIT(1)

// Prototype definitions

int pca9957_set_power_mode(uint8_t low_power);
int pca9957_get_power_mode(uint8_t *low_power);
int pca9957_get_status(uint8_t *status);
int pca9957_check_error(uint8_t *error);
int pca9957_set_led_mode(uint32_t leds, uint8_t mode);
int pca9957_set_led_pwm(uint32_t leds, uint8_t pwm);
int pca9957_set_led_current(uint32_t leds, uint8_t current);

int pca9957_write(uint8_t reg, uint8_t tx_buf);
int pca9957_read(uint8_t reg, uint8_t *rx_buf);

#endif// PCA9957_WRAPPER_INCLUDED
```

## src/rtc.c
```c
/*
 * Copyright (c) 2023 Simon Brenninger
 *
 * SPDX-License-Identifier: GPLv3
 */

#include "header.h"

LOG_MODULE_DECLARE(SmartWatchDemo, LOG_LEVEL);

static void counter_callback(const struct device *counter_dev, uint8_t chan_id,
							 uint32_t ticks, void *user_data);

static struct tm rtc_time;
static struct counter_alarm_cfg alarm_cfg;

int rtc_init(const struct device *counter_dev)
{
	int ret = 0;

	rtc_time.tm_hour = 3;
	rtc_time.tm_min = 45;
	rtc_time.tm_sec = 0;

    if (!device_is_ready(counter_dev)) {
		ret = -1;
	}

	counter_start(counter_dev);

	alarm_cfg.flags = 0;
	alarm_cfg.ticks = counter_us_to_ticks(counter_dev, DELAY);
	alarm_cfg.callback = counter_callback;
	alarm_cfg.user_data = &alarm_cfg;

	ret = counter_set_channel_alarm(counter_dev, ALARM_CHANNEL_ID, &alarm_cfg);
	return ret;
}

static void counter_callback(const struct device *counter_dev, uint8_t chan_id,
 							 uint32_t ticks, void *user_data)
{
	counter_set_channel_alarm(counter_dev, ALARM_CHANNEL_ID, &alarm_cfg);

	rtc_time.tm_sec++;
	if (rtc_time.tm_sec == 60) {
		rtc_time.tm_sec = 0;
		rtc_time.tm_min++;
		if (rtc_time.tm_min == 60) {
			rtc_time.tm_min = 0;
			rtc_time.tm_hour++;
			if (rtc_time.tm_hour == 60) {
				rtc_time.tm_hour = 0;
			}
		}
	}
}

/**
 * @brief rtc thread
 */
void rtc_thread(void *, void *, void *)
{
	const struct device *const counter_dev = DEVICE_DT_GET(TIMER);
	int err;

	LOG_DBG("RTC_thread started");

	err = rtc_init(counter_dev);

	if (err) {
		LOG_ERR("Error initializing RTC");
		return;
	}

	LOG_DBG("RTC initialized");
}

void rtc_get_time(struct tm *current_time)
{
	*current_time = rtc_time;
}

void rtc_set_time(struct tm *current_time)
{
	rtc_time = *current_time;
}
```
